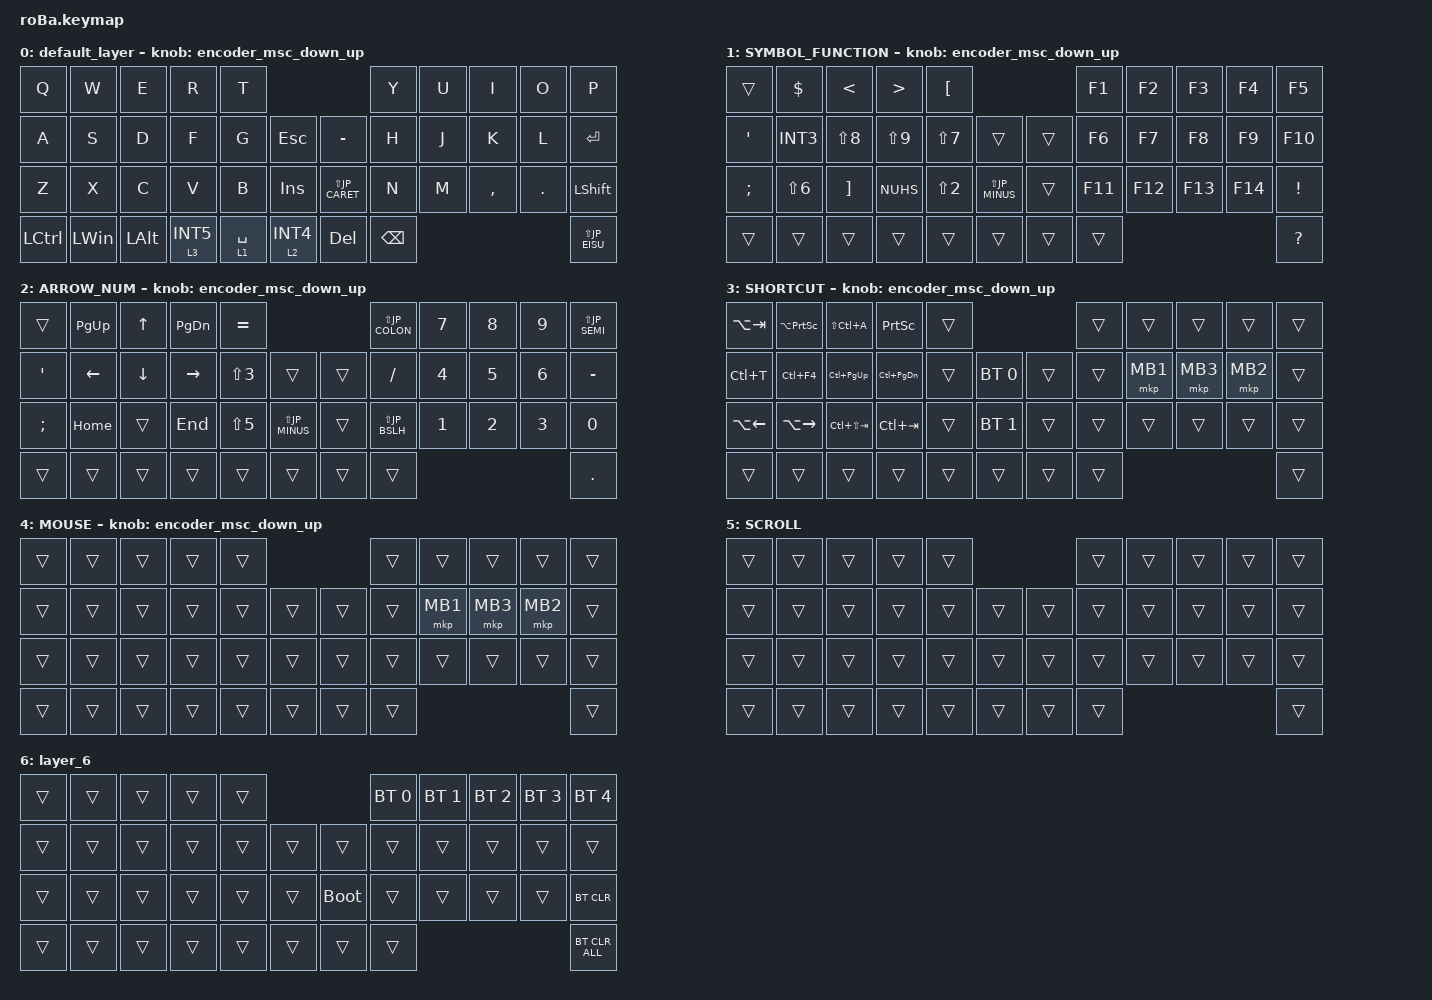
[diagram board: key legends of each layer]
#include <input/processors.dtsi>
#include <behaviors.dtsi>
#include <dt-bindings/zmk/bt.h>
#include <dt-bindings/zmk/keys.h>
#include <dt-bindings/zmk/pointing.h>

// ロータリーエンコーダ スクロール量定義

#define ZMK_POINTING_DEFAULT_SCRL_VAL 100

// OS設定を日本語キーボードのまま使用するための変換定義

#define JP_ZKHK  GRAVE        // Zenkaku ↔ Hankaku ↔ Kanji (半角 ↔ 全角 ↔ 漢字)
#define JP_MINUS MINUS        // -
#define JP_CARET EQUAL        // ^
#define JP_YEN   INT3         // ¥
#define JP_AT    LBKT         // @
#define JP_LBKT  RBKT         // [
#define JP_EISU  CAPS         // Eisū (英数)
#define JP_SEMI  SEMI         // ;
#define JP_COLON SQT          // :
#define JP_RBKT  NUHS         // ]
#define JP_COMMA COMMA        // ,
#define JP_DOT   DOT          // .
#define JP_SLASH SLASH        // /
#define JP_BSLH  INT1         // (backslash)
#define JP_MHEN  INT5         // Muhenkan (無変換)
#define JP_HENK  INT4         // Henkan (変換)
#define JP_KANA  INT2         // Katakana ↔ Hiragana ↔ Rōmaji (カタカナ ↔ ひらがな ↔ ローマ字)
#define JP_EXCL  LS(N1)       // !
#define JP_DQT   LS(N2)       // "
#define JP_HASH  LS(N3)       // #
#define JP_DLLR  LS(N4)       // $
#define JP_PRCNT LS(N5)       // %
#define JP_AMPS  LS(N6)       // &
#define JP_SQT   LS(N7)       // '
#define JP_LPAR  LS(N8)       // (
#define JP_RPAR  LS(N9)       // )
#define JP_EQUAL LS(JP_MINUS) // =
#define JP_TILDE LS(JP_CARET) // ~
#define JP_PIPE  LS(JP_YEN)   // |
#define JP_GRAVE LS(JP_AT)    // `
#define JP_LBRC  LS(JP_LBKT)  // {
#define JP_CAPS  LS(JP_EISU)  // Caps Lock
#define JP_PLUS  LS(JP_SEMI)  // +
#define JP_ASTRK LS(JP_COLON) // *
#define JP_RBRC  LS(JP_RBKT)  // }
#define JP_LT    LS(JP_COMMA) // <
#define JP_RT    LS(JP_DOT)   // >
#define JP_QMARK LS(JP_SLASH) // ?
#define JP_UNDER LS(JP_BSLH)  // _

// マウスクリック操作時AML動作定義

&mkp_input_listener { input-processors = <&zip_temp_layer 4 250>; };

// &trackball {
//    scroll-layers = <2>;
//    automouse-layer = <4>;
//    arrows {
//        layers = <3>;
//        bindings =
//            <&kp RIGHT_ARROW>,
//            <&kp LEFT_ARROW>,
//            <&kp UP_ARROW>,
//            <&kp DOWN_ARROW>;
//        tick = <10>;
//        wait-ms = <5>;
//        tap-ms = <5>;
//    };
// };

&lt {
    flavor = "hold-preferred";
    hold-while-undecided;
};

&mt {
    flavor = "tap-preferred";
    tapping-term-ms = <150>;
};

/ {
    combos {
        compatible = "zmk,combos";

        tab {
            bindings = <&kp TAB>;
            key-positions = <0 1>;
        };
    };

    macros {
        to_layer_0: to_layer_0 {
            compatible = "zmk,behavior-macro-one-param";
            #binding-cells = <1>;
            bindings = <&to 0 &macro_param_1to1 &kp MACRO_PLACEHOLDER>;
            label = "TO_LAYER_0";
        };
    };

    behaviors {
        lt_to_layer_0: lt_to_layer_0 {
            compatible = "zmk,behavior-hold-tap";
            label = "LAYER_TAP_TO_0";
            bindings = <&mo>, <&to_layer_0>;

            #binding-cells = <2>;
            tapping-term-ms = <200>;
        };

        encoder_msc_down_up: encoder_msc_down_up {
            compatible = "zmk,behavior-sensor-rotate";
            label = "ENCODER_MSC_DOWN_UP";
            #sensor-binding-cells = <0>;
            bindings = <&msc SCRL_DOWN>, <&msc SCRL_UP>;

            tap-ms = <20>;
        };
    };

    keymap {
        compatible = "zmk,keymap";

        default_layer {
            bindings = <
&kp Q      &kp W         &kp E         &kp R          &kp T                                         &kp Y          &kp U  &kp I      &kp O    &kp P
&kp A      &kp S         &kp D         &kp F          &kp G        &kp ESCAPE         &kp MINUS     &kp H          &kp J  &kp K      &kp L    &kp ENTER
&kp Z      &kp X         &kp C         &kp V          &kp B        &kp INS            &kp JP_TILDE  &kp N          &kp M  &kp COMMA  &kp DOT  &kp LEFT_SHIFT
&kp LCTRL  &kp LEFT_WIN  &kp LEFT_ALT  &lt 3 JP_MHEN  &lt 1 SPACE  &lt 2 JP_HENK      &kp DELETE    &kp BACKSPACE                             &kp LS(JP_EISU)
            >;

            sensor-bindings = <&encoder_msc_down_up>;
        };

        SYMBOL_FUNCTION {
            bindings = <
&trans        &kp DOLLAR   &kp LESS_THAN  &kp GREATER_THAN  &kp JP_AT                             &kp F1   &kp F2   &kp F3   &kp F4   &kp F5
&kp JP_COLON  &kp JP_YEN   &kp JP_LPAR    &kp JP_RPAR       &kp JP_SQT  &trans            &trans  &kp F6   &kp F7   &kp F8   &kp F9   &kp F10
&kp JP_SEMI   &kp JP_AMPS  &kp JP_LBKT    &kp JP_RBKT       &kp JP_DQT  &kp JP_EQUAL      &trans  &kp F11  &kp F12  &kp F13  &kp F14  &kp EXCLAMATION
&trans        &trans       &trans         &trans            &trans      &trans            &trans  &trans                              &kp QUESTION
            >;

            sensor-bindings = <&encoder_msc_down_up>;
        };

        ARROW_NUM {
            bindings = <
&trans        &kp PAGE_UP     &kp UP_ARROW    &kp PAGE_DOWN    &kp JP_CARET                            &kp JP_ASTRK  &kp N7  &kp N8  &kp N9  &kp JP_PLUS
&kp JP_COLON  &kp LEFT_ARROW  &kp DOWN_ARROW  &kp RIGHT_ARROW  &kp JP_HASH   &trans            &trans  &kp SLASH     &kp N4  &kp N5  &kp N6  &kp MINUS
&kp JP_SEMI   &kp HOME        &trans          &kp END          &kp JP_PRCNT  &kp JP_EQUAL      &trans  &kp JP_UNDER  &kp N1  &kp N2  &kp N3  &kp N0
&trans        &trans          &trans          &trans           &trans        &trans            &trans  &trans                                &kp PERIOD
            >;

            sensor-bindings = <&encoder_msc_down_up>;
        };

        SHORTCUT {
            bindings = <
&kp LA(TAB)         &kp LA(PRINTSCREEN)  &kp LS(LC(A))    &kp PRINTSCREEN    &trans                            &trans  &trans    &trans    &trans    &trans
&kp LC(T)           &kp LC(F4)           &kp LC(PAGE_UP)  &kp LC(PAGE_DOWN)  &trans  &bt BT_SEL 0      &trans  &trans  &mkp MB1  &mkp MB3  &mkp MB2  &trans
&kp LA(LEFT_ARROW)  &kp LA(RIGHT_ARROW)  &kp LC(LS(TAB))  &kp LC(TAB)        &trans  &bt BT_SEL 1      &trans  &trans  &trans    &trans    &trans    &trans
&trans              &trans               &trans           &trans             &trans  &trans            &trans  &trans                                &trans
            >;

            sensor-bindings = <&encoder_msc_down_up>;
        };

        MOUSE {
            bindings = <
&trans  &trans  &trans  &trans  &trans                      &trans  &trans    &trans    &trans    &trans
&trans  &trans  &trans  &trans  &trans  &trans      &trans  &trans  &mkp MB1  &mkp MB3  &mkp MB2  &trans
&trans  &trans  &trans  &trans  &trans  &trans      &trans  &trans  &trans    &trans    &trans    &trans
&trans  &trans  &trans  &trans  &trans  &trans      &trans  &trans                                &trans
            >;

            sensor-bindings = <&encoder_msc_down_up>;
        };

        SCROLL {
            bindings = <
&trans  &trans  &trans  &trans  &trans                      &trans  &trans  &trans  &trans  &trans
&trans  &trans  &trans  &trans  &trans  &trans      &trans  &trans  &trans  &trans  &trans  &trans
&trans  &trans  &trans  &trans  &trans  &trans      &trans  &trans  &trans  &trans  &trans  &trans
&trans  &trans  &trans  &trans  &trans  &trans      &trans  &trans                          &trans
            >;
        };

        layer_6 {
            bindings = <
&trans  &trans  &trans  &trans  &trans                           &bt BT_SEL 0  &bt BT_SEL 1  &bt BT_SEL 2  &bt BT_SEL 3  &bt BT_SEL 4
&trans  &trans  &trans  &trans  &trans  &trans      &trans       &trans        &trans        &trans        &trans        &trans
&trans  &trans  &trans  &trans  &trans  &trans      &bootloader  &trans        &trans        &trans        &trans        &bt BT_CLR
&trans  &trans  &trans  &trans  &trans  &trans      &trans       &trans                                                  &bt BT_CLR_ALL
            >;
        };
    };
};
